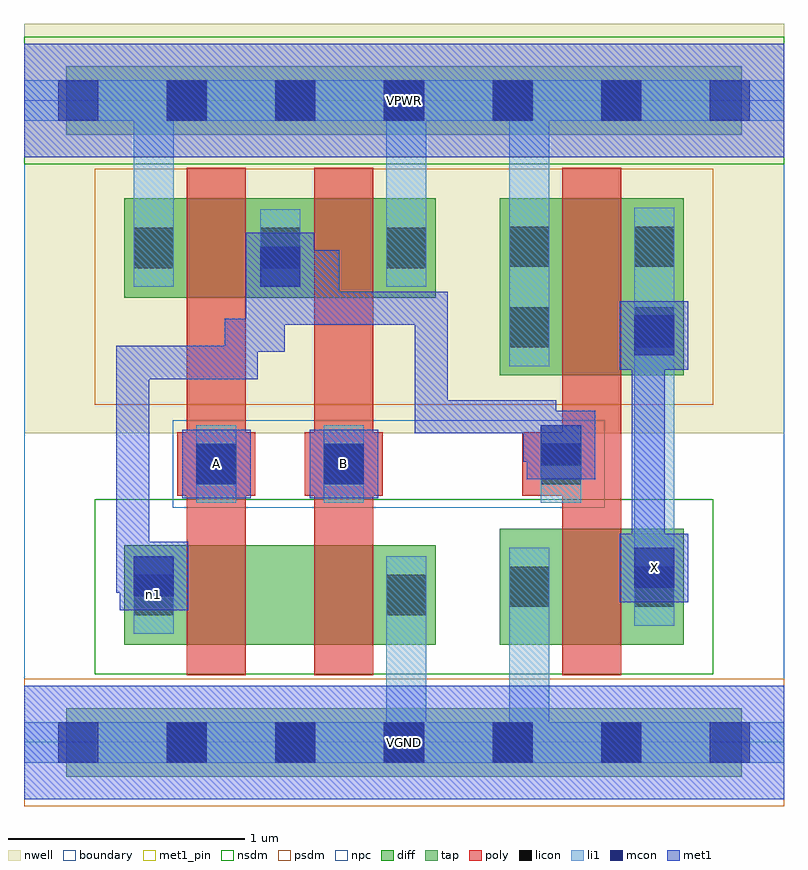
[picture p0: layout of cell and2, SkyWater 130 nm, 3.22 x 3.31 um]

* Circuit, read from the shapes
.subckt and2 A B VGND VPWR X n1
XM1 n2 A n1 VGND sky130_fd_pr__nfet_01v8 w=0.42 l=0.25
XM2 VGND B n2 VGND sky130_fd_pr__nfet_01v8 w=0.42 l=0.25
XM3 X n1 VGND VGND sky130_fd_pr__nfet_01v8 w=0.49 l=0.25
XM4 n1 A VPWR VPWR sky130_fd_pr__pfet_01v8 w=0.42 l=0.25
XM5 VPWR B n1 VPWR sky130_fd_pr__pfet_01v8 w=0.42 l=0.25
XM6 X n1 VPWR VPWR sky130_fd_pr__pfet_01v8 w=0.75 l=0.25
.ends

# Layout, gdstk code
import gdstk
lib = gdstk.Library(unit=1e-6, precision=1e-09)
def R(c, l, rs):  # rectangles x0, y0, x1, y1
    for r in rs: c.add(gdstk.rectangle(r[:2], r[2:], *l))
def A(c, l, x, y, w, h, nx, ny, dx, dy):  # array of equal rectangles
    R(c, l, [(x+i*dx, y+j*dy, x+i*dx+w, y+j*dy+h) for i in range(nx) for j in range(ny)])
nwell = (64, 20)
diff = (65, 20)
tap = (65, 44)
poly = (66, 20)
licon = (66, 44)
li1 = (67, 20)
mcon = (67, 44)
met1_pin = (68, 16)
met1 = (68, 20)
nsdm = (93, 44)
psdm = (94, 20)
npc = (95, 20)
boundary = (235, 4)

and2 = lib.new_cell('and2')
R(and2, nwell, [(0,1.31,3.22,3.045)])
R(and2, diff, [(0.425,0.415,1.745,0.835), (2.015,0.415,2.795,0.905), (2.015,1.555,2.795,2.305), (0.425,1.885,1.745,2.305)])
R(and2, tap, [(0.18,-0.145,3.04,0.145), (0.18,2.575,3.04,2.865)])
R(and2, poly, [(0.69,0.285,0.94,2.435), (1.23,0.285,1.48,2.435), (2.28,0.285,2.53,2.435), (0.65,1.045,0.98,1.315), (1.19,1.045,1.52,1.315), (2.11,1.045,2.44,1.315)])
A(and2, licon, 0.605, -0.085, 0.17, 0.17, 5, 2, 0.46, 2.72)
A(and2, licon, 0.465, 2.01, 0.17, 0.17, 3, 1, 0.535, 0)
R(and2, licon, [(0.465,0.54,0.635,0.71), (1.535,0.54,1.705,0.71), (2.055,0.575,2.225,0.745), (2.585,0.575,2.755,0.745), (0.73,1.095,0.9,1.265), (1.27,1.095,1.44,1.265), (2.19,1.095,2.36,1.265), (2.055,1.675,2.225,1.845), (2.585,1.675,2.755,1.845), (2.055,2.015,2.225,2.185), (2.585,2.015,2.755,2.185)])
A(and2, li1, 0.465, 1.93, 0.17, 0.33, 3, 1, 0.535, 0)
R(and2, li1, [(0,-0.085,3.22,0.085), (1.535,-0.085,1.705,0.79), (2.055,-0.085,2.225,0.825), (0.465,0.46,0.635,0.79), (1.535,0.46,1.705,0.79), (2.055,0.495,2.225,0.825), (2.585,0.495,2.755,0.825), (2.585,0.495,2.755,2.265), (0.73,1.015,0.9,1.345), (1.27,1.015,1.44,1.345), (2.19,1.015,2.36,1.345), (2.055,1.595,2.225,2.265), (2.055,1.595,2.225,2.805), (2.585,1.595,2.755,2.265), (0.465,1.93,0.635,2.805), (1.535,1.93,1.705,2.805), (0,2.635,3.22,2.805)])
A(and2, mcon, 0.145, -0.085, 0.17, 0.17, 7, 2, 0.46, 2.72)
R(and2, mcon, [(0.465,0.62,0.635,0.79), (2.585,0.655,2.755,0.825), (0.73,1.095,0.9,1.265), (1.27,1.095,1.44,1.265), (2.19,1.175,2.36,1.345), (2.585,1.64,2.755,1.81), (1,1.93,1.17,2.1)])
R(and2, met1_pin, [(0,-0.24,3.22,0.24), (2.525,0.595,2.815,0.885), (0.67,1.035,0.96,1.325), (1.21,1.035,1.5,1.325), (0,2.48,3.22,2.96)])
R(and2, met1, [(0,-0.24,3.22,0.24), (0.405,0.56,0.695,0.85), (2.525,0.595,2.815,0.885), (0.39,0.635,0.62,0.775), (0.39,0.635,0.53,0.875), (2.575,0.67,2.74,0.81), (2.575,0.67,2.715,0.99), (0.39,0.735,0.53,1.68), (2.575,0.85,2.715,1.795), (0.67,1.035,0.96,1.325), (1.21,1.035,1.5,1.325), (2.13,1.115,2.42,1.405), (2.115,1.19,2.345,1.33), (2.115,1.19,2.255,1.45), (1.655,1.31,2.255,1.45), (1.655,1.31,1.795,1.91), (0.39,1.54,0.99,1.68), (0.85,1.54,0.99,1.795), (2.525,1.58,2.815,1.87), (0.85,1.655,1.105,1.795), (0.965,1.655,1.105,1.91), (2.575,1.655,2.74,1.795), (0.965,1.77,1.335,1.91), (1.195,1.77,1.335,2.085), (1.195,1.77,1.795,1.91), (0.94,1.795,1.105,1.87), (0.94,1.795,0.99,1.87), (0.94,1.87,1.23,2.16), (1.015,1.91,1.335,1.945), (1.015,1.945,1.335,2.085), (0,2.48,3.22,2.96)])
R(and2, nsdm, [(0.3,0.29,2.92,1.03), (0,2.45,3.22,2.99)])
R(and2, psdm, [(0,-0.27,3.22,0.27), (0.3,1.43,2.92,2.43)])
R(and2, npc, [(0.63,0.995,2.46,1.365)])
R(and2, boundary, [(0,0,3.22,2.72)])
and2.add(gdstk.Label('n1', (0.55,0.625), layer=67, texttype=5))
and2.add(gdstk.Label('A', (0.815,1.18), layer=68, texttype=5))
and2.add(gdstk.Label('B', (1.355,1.18), layer=68, texttype=5))
and2.add(gdstk.Label('X', (2.67,0.74), layer=68, texttype=5))
and2.add(gdstk.Label('VPWR', (1.61,2.72), layer=68, texttype=5))
and2.add(gdstk.Label('VGND', (1.61,0), layer=68, texttype=5))
and2.add(gdstk.Label('A', (0.815,1.18), layer=68, texttype=16))
and2.add(gdstk.Label('B', (1.355,1.18), layer=68, texttype=16))
and2.add(gdstk.Label('X', (2.67,0.74), layer=68, texttype=16))
and2.add(gdstk.Label('VPWR', (1.61,2.72), layer=68, texttype=16))
and2.add(gdstk.Label('VGND', (1.61,0), layer=68, texttype=16))

lib.write_gds('and2.gds')
